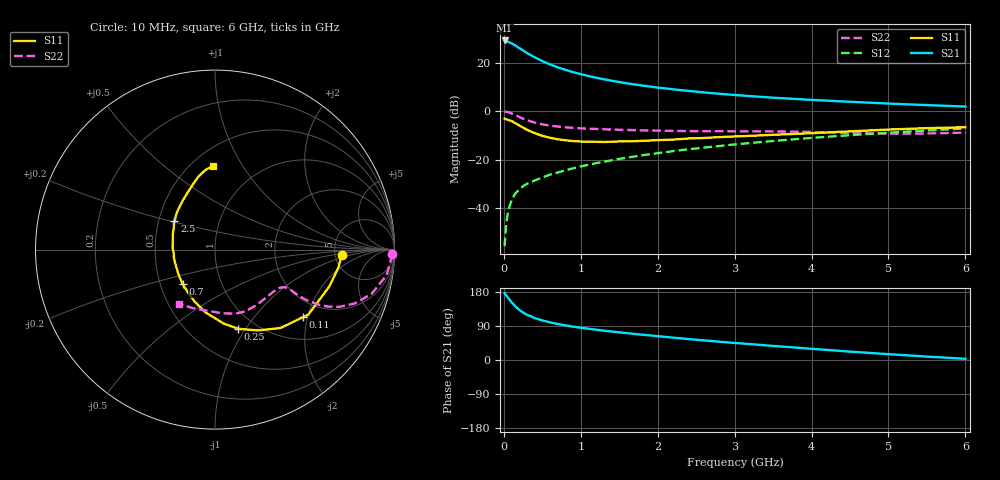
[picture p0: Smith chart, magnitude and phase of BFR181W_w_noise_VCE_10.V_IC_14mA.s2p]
! Infineon Technologies  Discrete & RF Semiconductors
! BFR181W
! VCE =  10. V,  IC =  14 mA
! Common Emitter S-Parameters:  Jan 2017
# GHz  S  MA  R  50
!  f  S11  S21  S12  S22
! GHz  MAG  ANG  MAG  ANG  MAG  ANG  MAG  ANG
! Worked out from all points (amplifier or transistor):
!   77 points, 10 MHz to 6 GHz, reference 50 ohm
!   highest |S21| = 29.4 dB at 10 MHz (marker M1)
!   |S21| within 3 dB of that: start of sweep to 193.6 MHz
!   unconditionally stable (mu >= 1): 937.9 MHz to 2.858 GHz
!   at 130 MHz: K = 0.33, MSG = 31.4 dB, |S12| = -35.1 dB
!   at 2.2 GHz: K = 1.04, MAG = 11.6 dB, |S12| = -16.5 dB
!   at 6 GHz: K = 0.85, MSG = 4.5 dB, |S12| = -7.1 dB
!   lowest NFmin = 1.43 dB at 450 MHz
!   S11 on the Smith chart (normalised r, x): 10 MHz: 5.72, -0.70; 110 MHz: 1.53, -1.87; 250 MHz: 0.83, -0.92; 700 MHz: 0.65, -0.27; 2.5 GHz: 0.60, +0.21; 6 GHz: 0.63, +0.75
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0.01  0.7065 -2.5  29.39 176.4  0.0016 93.2  0.9881 -1.5
0.02  0.6947 -8.4  28.92 173.1  0.0028 99.9  0.9819 -3.1
0.05  0.669 -17.9  27.91 165.4  0.0073 84.5  0.9668 -8.5
0.1  0.6336 -34.9  25.73 152.3  0.0141 76.3  0.9061 -15.8
0.11  0.6174 -37.7  25.15 150.3  0.0152 74.1  0.8911 -16.8
0.15  0.5689 -50.2  23.14 141.5  0.0199 67.9  0.8338 -21.1
0.2  0.5093 -62.2  20.48 132.4  0.0238 67.0  0.7634 -24.7
0.25  0.459 -73.8  18.2 125.1  0.0281 64.7  0.7041 -26.8
0.3  0.4149 -83.3  16.17 119.4  0.0313 63.8  0.6535 -28.0
0.4  0.3534 -98.7  13.16 110.7  0.0367 63.4  0.5827 -28.9
0.5  0.3104 -111.6  10.95 104.4  0.0424 64.6  0.5357 -28.9
0.6  0.2822 -122.3  9.374 99.3  0.0487 64.3  0.5043 -28.5
0.7  0.2633 -133.0  8.163 95.1  0.0537 66.7  0.4825 -28.1
0.9  0.2418 -149.3  6.483 88.1  0.0657 67.5  0.4539 -28.1
1.1  0.2342 -162.9  5.392 82.6  0.0781 68.9  0.4364 -28.7
1.5  0.2372 176.6  4.035 73.0  0.1029 69.1  0.4138 -31.7
2.1  0.2553 155.2  2.978 61.0  0.1422 67.8  0.3947 -39.7
2.5  0.2765 144.7  2.552 53.5  0.1697 66.2  0.3878 -46.5
3.1  0.305 131.6  2.123 43.5  0.2125 63.0  0.3839 -56.9
4.1  0.3577 114.3  1.693 28.1  0.288 56.3  0.3702 -74.5
5.1  0.4234 101.4  1.424 14.1  0.3672 47.9  0.3429 -99.3
6  0.4669 91.3  1.252 3.1  0.4398 39.5  0.363 -123.9
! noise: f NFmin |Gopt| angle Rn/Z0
0.45  1.43  0.06  16  0.21
0.9  1.48  0.06  32  0.21
1.9  1.92  0.11  -141  0.21
2.4  2.13  0.14  -109  0.27
